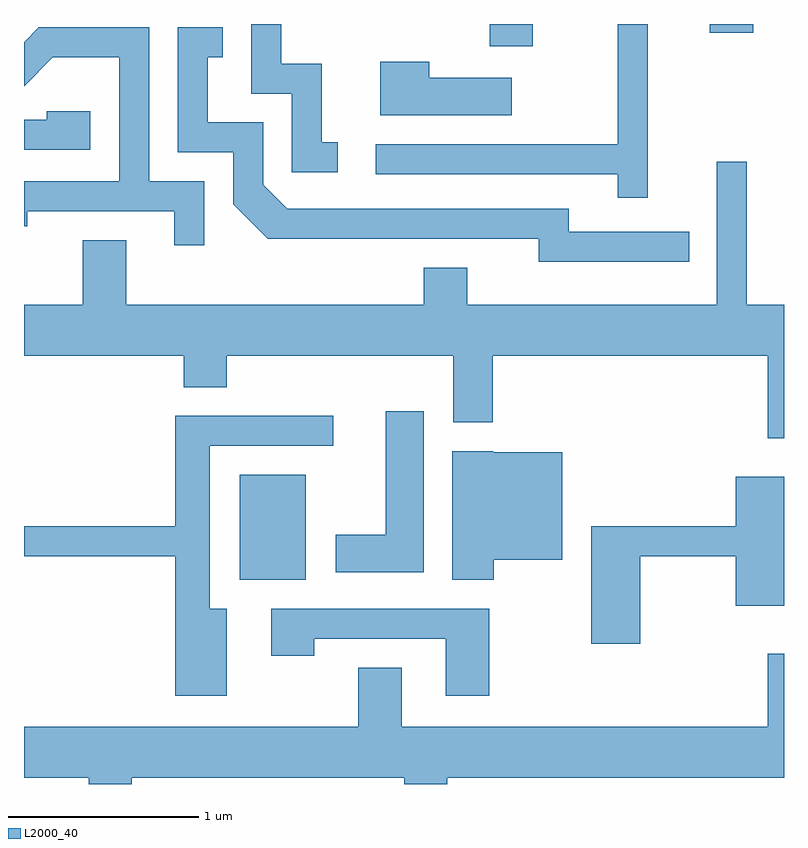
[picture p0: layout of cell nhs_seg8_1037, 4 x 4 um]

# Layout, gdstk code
import gdstk
lib = gdstk.Library(unit=1e-6, precision=1e-09)
def R(c, l, rs):  # rectangles x0, y0, x1, y1
    for r in rs: c.add(gdstk.rectangle(r[:2], r[2:], *l))
def P(c, l, *ps):  # polygons
    for p in ps: c.add(gdstk.Polygon(p, *l))
L2000_40 = (2000, 40)

nhs_seg8_1037 = lib.new_cell('nhs_seg8_1037')
R(nhs_seg8_1037, L2000_40, [(216.746,1877.416,217.094,1877.969), (218.061,1880.226,218.289,1880.342), (219.221,1880.296,219.449,1880.342)])
P(nhs_seg8_1037, L2000_40, [(218.894,1880.342),(218.736,1880.342),(218.736,1879.709),(217.463,1879.709),(217.463,1879.551),(218.736,1879.551),(218.736,1879.428),(218.894,1879.428)],
  [(217.263,1879.719),(217.179,1879.719),(217.179,1880.134),(216.964,1880.134),(216.964,1880.342),(216.806,1880.342),(216.806,1879.976),(217.021,1879.976),(217.021,1879.561),(217.263,1879.561)],
  [(219.113,1879.249),(218.479,1879.249),(218.479,1879.369),(216.997,1879.369),(216.869,1879.497),(216.869,1879.824),(216.579,1879.824),(216.579,1880.166),(216.658,1880.166),(216.658,1880.324),(216.421,1880.324),(216.421,1879.666),(216.711,1879.666),(216.711,1879.394),(216.894,1879.211),(218.321,1879.211),(218.321,1879.091),(219.113,1879.091)],
  [(216.559,1879.514),(216.269,1879.514),(216.269,1880.324),(215.689,1880.324),(215.611,1880.246),(215.611,1880.015),(215.762,1880.166),(216.111,1880.166),(216.111,1879.514),(215.611,1879.514),(215.611,1879.278),(215.629,1879.278),(215.629,1879.356),(216.401,1879.356),(216.401,1879.178),(216.559,1879.178)],
  [(218.179,1880.059),(217.744,1880.059),(217.744,1880.144),(217.486,1880.144),(217.486,1879.861),(218.179,1879.861)],
  [(215.959,1879.884),(215.731,1879.884),(215.731,1879.839),(215.611,1879.839),(215.611,1879.681),(215.959,1879.681)],
  [(219.611,1878.864),(219.414,1878.864),(219.414,1879.618),(219.256,1879.618),(219.256,1878.864),(217.944,1878.864),(217.944,1879.059),(217.716,1879.059),(217.716,1878.864),(216.149,1878.864),(216.149,1879.204),(215.921,1879.204),(215.921,1878.864),(215.611,1878.864),(215.611,1878.596),(216.451,1878.596),(216.451,1878.431),(216.679,1878.431),(216.679,1878.596),(217.871,1878.596),(217.871,1878.246),(218.079,1878.246),(218.079,1878.596),(219.526,1878.596),(219.526,1878.163),(219.611,1878.163)],
  [(217.714,1878.304),(217.516,1878.304),(217.516,1877.654),(217.251,1877.654),(217.251,1877.456),(217.714,1877.456)],
  [(216.679,1877.264),(216.589,1877.264),(216.589,1878.121),(217.238,1878.121),(217.238,1878.279),(216.406,1878.279),(216.406,1877.699),(215.611,1877.699),(215.611,1877.541),(216.406,1877.541),(216.406,1876.806),(216.679,1876.806)],
  [(218.084,1877.521),(218.444,1877.521),(218.444,1878.089),(218.08,1878.089),(218.08,1878.094),(217.866,1878.094),(217.866,1877.416),(218.084,1877.416)],
  [(218.854,1877.541),(219.356,1877.541),(219.356,1877.281),(219.611,1877.281),(219.611,1877.959),(219.356,1877.959),(219.356,1877.699),(218.596,1877.699),(218.596,1877.081),(218.854,1877.081)],
  [(218.059,1877.264),(216.911,1877.264),(216.911,1877.016),(217.139,1877.016),(217.139,1877.106),(217.831,1877.106),(217.831,1876.806),(218.059,1876.806)],
  [(216.179,1876.376),(217.611,1876.376),(217.611,1876.342),(217.839,1876.342),(217.839,1876.376),(219.611,1876.376),(219.611,1877.028),(219.526,1877.028),(219.526,1876.644),(217.599,1876.644),(217.599,1876.954),(217.371,1876.954),(217.371,1876.644),(215.611,1876.644),(215.611,1876.376),(215.951,1876.376),(215.951,1876.342),(216.179,1876.342)])

lib.write_gds('nhs_seg8_1037.gds')
